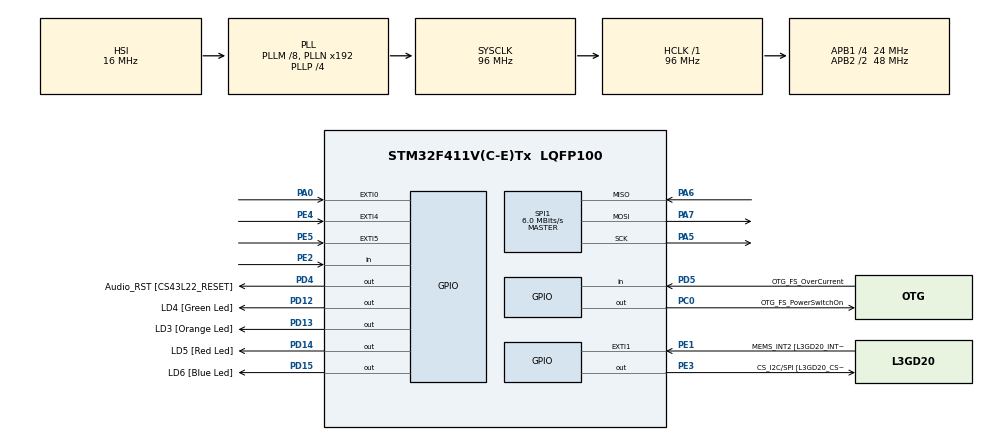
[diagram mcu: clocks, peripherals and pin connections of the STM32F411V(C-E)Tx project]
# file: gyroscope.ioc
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Mcu.Family=STM32F4
Mcu.Name=STM32F411V(C-E)Tx
Mcu.Package=LQFP100
NVIC.PriorityGroup=NVIC_PRIORITYGROUP_0
PA0-WKUP.GPIO_ModeDefaultEXTI=GPIO_MODE_EVT_RISING
PA0-WKUP.Signal=GPXTI0
PA10.GPIO_Label=OTG_FS_ID
PA10.Signal=USB_OTG_FS_ID
PA11.GPIO_Label=OTG_FS_DM
PA11.Signal=USB_OTG_FS_DM
PA12.GPIO_Label=OTG_FS_DP
PA12.Signal=USB_OTG_FS_DP
PA13.GPIO_Label=SWDIO
PA13.Signal=SYS_JTMS-SWDIO
PA14.GPIO_Label=SWCLK
PA14.Signal=SYS_JTCK-SWCLK
PA4.GPIO_Label=I2S3_WS [CS43L22_LRCK]
PA4.GPIO_Mode=GPIO_MODE_AF_PP
PA4.GPIO_PuPd=GPIO_NOPULL
PA4.GPIO_Speed=GPIO_SPEED_FREQ_LOW
PA4.Signal=I2S3_WS
PA5.Mode=Full_Duplex_Master
PA5.Signal=SPI1_SCK
PA6.Mode=Full_Duplex_Master
PA6.Signal=SPI1_MISO
PA7.Mode=Full_Duplex_Master
PA7.Signal=SPI1_MOSI
PA9.GPIO_Label=VBUS_FS
PA9.Signal=USB_OTG_FS_VBUS
PB10.GPIO_Label=CLK_IN [MP45DT02_CLK]
PB10.Signal=I2S2_CK
PB12.Signal=I2S2_WS
PB3.GPIO_Label=SWO
PB3.Signal=SYS_JTDO-SWO
PB6.GPIO_Label=Audio_SCL [CS43L22_SCL]
PB6.GPIO_Mode=GPIO_MODE_AF_OD
PB6.GPIO_PuPd=GPIO_NOPULL
PB6.GPIO_Speed=GPIO_SPEED_FREQ_LOW
PB6.Signal=I2C1_SCL
PB9.GPIO_Label=Audio_SDA [CS43L22_SDA]
PB9.GPIO_Mode=GPIO_MODE_AF_OD
PB9.GPIO_PuPd=GPIO_NOPULL
PB9.GPIO_Speed=GPIO_SPEED_FREQ_LOW
PB9.Signal=I2C1_SDA
PC0.GPIO_Label=OTG_FS_PowerSwitchOn
PC0.PinState=GPIO_PIN_SET
PC0.Signal=GPIO_Output
PC10.GPIO_Label=I2S3_SCK [CS43L22_SCLK]
PC10.GPIO_Mode=GPIO_MODE_AF_PP
PC10.GPIO_PuPd=GPIO_NOPULL
PC10.GPIO_Speed=GPIO_SPEED_FREQ_LOW
PC10.Signal=I2S3_CK
PC12.GPIO_Label=I2S3_SD [CS43L22_SDIN]
PC12.GPIO_Mode=GPIO_MODE_AF_PP
PC12.GPIO_PuPd=GPIO_NOPULL
PC12.GPIO_Speed=GPIO_SPEED_FREQ_LOW
PC12.Signal=I2S3_SD
PC14-OSC32_IN.GPIO_Label=PC14-OSC32_IN
PC14-OSC32_IN.Signal=RCC_OSC32_IN
PC15-OSC32_OUT.GPIO_Label=PC15-OSC32_OUT
PC15-OSC32_OUT.Signal=RCC_OSC32_OUT
PC3.GPIO_Label=PDM_OUT [MP45DT02_DOUT]
PC3.Signal=I2S2_SD
PC7.GPIO_Label=I2S3_MCK [CS43L22_MCLK]
PC7.GPIO_Mode=GPIO_MODE_AF_PP
PC7.GPIO_PuPd=GPIO_NOPULL
PC7.GPIO_Speed=GPIO_SPEED_FREQ_LOW
PC7.Signal=I2S3_MCK
PD12.GPIO_Label=LD4 [Green Led]
PD12.GPIO_PuPd=GPIO_NOPULL
PD12.GPIO_Speed=GPIO_SPEED_FREQ_LOW
PD12.Signal=GPIO_Output
PD13.GPIO_Label=LD3 [Orange Led]
PD13.GPIO_PuPd=GPIO_NOPULL
PD13.GPIO_Speed=GPIO_SPEED_FREQ_LOW
PD13.Signal=GPIO_Output
PD14.GPIO_Label=LD5 [Red Led]
PD14.GPIO_PuPd=GPIO_NOPULL
PD14.GPIO_Speed=GPIO_SPEED_FREQ_LOW
PD14.Signal=GPIO_Output
PD15.GPIO_Label=LD6 [Blue Led]
PD15.GPIO_PuPd=GPIO_NOPULL
PD15.GPIO_Speed=GPIO_SPEED_FREQ_LOW
PD15.Signal=GPIO_Output
PD4.GPIO_Label=Audio_RST [CS43L22_RESET]
PD4.Signal=GPIO_Output
PD5.GPIO_Label=OTG_FS_OverCurrent
PD5.Signal=GPIO_Input
PE1.GPIO_Label=MEMS_INT2 [L3GD20_INT2]
PE1.GPIO_ModeDefaultEXTI=GPIO_MODE_EVT_RISING
PE1.Signal=GPXTI1
PE2.Signal=GPIO_Input
PE3.GPIO_Label=CS_I2C/SPI [L3GD20_CS_I2C/SPI]
PE3.Signal=GPIO_Output
PE4.GPIO_ModeDefaultEXTI=GPIO_MODE_EVT_RISING
PE4.Signal=GPXTI4
PE5.GPIO_ModeDefaultEXTI=GPIO_MODE_EVT_RISING
PE5.Signal=GPXTI5
PH0\ -\ OSC_IN.GPIO_Label=PH0-OSC_IN
PH0\ -\ OSC_IN.Signal=RCC_OSC_IN
PH1\ -\ OSC_OUT.GPIO_Label=PH1-OSC_OUT
PH1\ -\ OSC_OUT.Signal=RCC_OSC_OUT
ProjectManager.HeapSize=0x200
ProjectManager.StackSize=0x400
ProjectManager.TargetToolchain=STM32CubeIDE
RCC.48MHZClocksFreq_Value=48000000
RCC.AHBFreq_Value=96000000
RCC.APB1CLKDivider=RCC_HCLK_DIV4
RCC.APB1Freq_Value=24000000
RCC.APB1TimFreq_Value=48000000
RCC.APB2CLKDivider=RCC_HCLK_DIV2
RCC.APB2Freq_Value=48000000
RCC.APB2TimFreq_Value=96000000
RCC.CortexFreq_Value=96000000
RCC.HCLKFreq_Value=96000000
RCC.HSE_VALUE=8000000
RCC.HSI_VALUE=16000000
RCC.LSE_VALUE=32768
RCC.PLLI2SM=5
RCC.PLLI2SN=200
RCC.PLLM=8
RCC.PLLP=RCC_PLLP_DIV4
RCC.PLLQ=8
RCC.SYSCLKFreq_VALUE=96000000
RCC.SYSCLKSource=RCC_SYSCLKSOURCE_PLLCLK
RCC.VCOOutputFreq_Value=384000000
SPI1.BaudRatePrescaler=SPI_BAUDRATEPRESCALER_8
SPI1.CalculateBaudRate=6.0 MBits/s
SPI1.Direction=SPI_DIRECTION_2LINES
SPI1.Mode=SPI_MODE_MASTER
SPI1.VirtualType=VM_MASTER
board=STM32F411E-DISCO

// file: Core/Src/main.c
/* USER CODE BEGIN Header */
/**
  ******************************************************************************
  * @file           : main.c
  * @brief          : Main program body
  ******************************************************************************
  * @attention
  *
  * Copyright (c) 2024 STMicroelectronics.
  * All rights reserved.
  *
  * This software is licensed under terms that can be found in the LICENSE file
  * in the root directory of this software component.
  * If no LICENSE file comes with this software, it is provided AS-IS.
  *
  ******************************************************************************
  */
/* USER CODE END Header */
#include "main.h"

/* USER CODE BEGIN Includes */
#include <stdio.h>
#include <math.h>
/* USER CODE END Includes */

SPI_HandleTypeDef hspi1;

void SystemClock_Config(void);
static void MX_GPIO_Init(void);
static void MX_SPI1_Init(void);

int main(void)
{

  /* USER CODE BEGIN 1 */
	initialise_monitor_handles();
	printf("Hello World!\n");
  /* USER CODE END 1 */

  /* MCU Configuration--------------------------------------------------------*/

  /* Reset of all peripherals, Initializes the Flash interface and the Systick. */
  HAL_Init();

  /* Configure the system clock */
  SystemClock_Config();

  /* Initialize all configured peripherals */
  MX_GPIO_Init();
  MX_SPI1_Init();
  /* USER CODE BEGIN 2 */
  uint8_t spi_receive_buf[6];
   uint8_t spi_transmit_buf[6];

   uint8_t WHO_AM_I_reg = 0x0F;
   WHO_AM_I_reg = 0b00001111;

   uint8_t READ = 0x01 << 7;
   uint8_t WRITE = 0x00 << 7;

   spi_transmit_buf[0] = WHO_AM_I_reg | READ;

 	HAL_GPIO_WritePin(GPIOE, GPIO_PIN_3, 0);
 	HAL_SPI_Transmit(&hspi1, spi_transmit_buf, 1, 50);
 	HAL_SPI_Receive(&hspi1, spi_receive_buf, 1, 50);
 	HAL_GPIO_WritePin(GPIOE, GPIO_PIN_3, 1);

 	printf("Expected 0x%02X , receiver: 0x%02X\n", 0b11010011, spi_receive_buf[0]);

 	//Odczyt rejestru przed zapisem
 	uint8_t CTRL_REG1_reg = 0x20;

 	spi_transmit_buf[0] = CTRL_REG1_reg | READ;

 	HAL_GPIO_WritePin(GPIOE, GPIO_PIN_3, 0);
 	HAL_SPI_Transmit(&hspi1, spi_transmit_buf, 1, 50);
 	HAL_SPI_Receive(&hspi1, spi_receive_buf, 1, 50);
 	HAL_GPIO_WritePin(GPIOE, GPIO_PIN_3, 1);

 	printf("CTRL_REG1 przed zapisem: 0x%02X\n", spi_receive_buf[0]);

 	//Zapis do rejestru

 	enum CTRL_REG1_BITS {XEN, YEN, ZEN, PD, BWO, BW1, DR0, DR1};
 	spi_transmit_buf[0] = CTRL_REG1_reg | WRITE;
 	spi_transmit_buf[1] = 1 <<XEN|1 << YEN|1 << ZEN|1 << PD|0 << BWO|0 << BW1|0 << DR0|0 << DR1;

 	HAL_GPIO_WritePin(GPIOE, GPIO_PIN_3, 0);
 	HAL_SPI_Transmit(&hspi1, spi_transmit_buf, 2, 50);
 	HAL_GPIO_WritePin(GPIOE, GPIO_PIN_3, 1);

 	//Odczyt do rejestru po zapisie

 	spi_transmit_buf[0] = CTRL_REG1_reg | READ;

 	HAL_GPIO_WritePin(GPIOE, GPIO_PIN_3, 0);
 	HAL_SPI_Transmit(&hspi1, spi_transmit_buf, 1, 50);
 	HAL_SPI_Receive(&hspi1, spi_receive_buf, 1, 50);
 	HAL_GPIO_WritePin(GPIOE, GPIO_PIN_3, 1);

 	printf("CTRL_REG1 po zapisie: 0x%02X\n", spi_receive_buf[0]);

 	uint8_t SAMPLES_START_reg = 0x28;

 	uint8_t AUTO_INCREMENT_ADDR = 0x01 << 6;

 	spi_transmit_buf[0] = SAMPLES_START_reg | READ |AUTO_INCREMENT_ADDR;
 	int16_t x, y, z;

 	float wspolczynnik_fizyczny = 245.0;

 	float xf, yf, zf;
  /* USER CODE END 2 */

  /* Infinite loop */
  /* USER CODE BEGIN WHILE */
  while (1)
  {
		HAL_GPIO_WritePin(GPIOE, GPIO_PIN_3, 0);
		HAL_SPI_Transmit(&hspi1, spi_transmit_buf, 1, 50);
		HAL_SPI_Receive(&hspi1, spi_receive_buf, 6, 50);
		HAL_GPIO_WritePin(GPIOE, GPIO_PIN_3, 1);
		x = spi_receive_buf[0] | spi_receive_buf[1] << 8;
		y = spi_receive_buf[2] | spi_receive_buf[3] << 8;
		z = spi_receive_buf[4] | spi_receive_buf[5] << 8;

		xf = (float)x / pow(2,15)*wspolczynnik_fizyczny;
		yf = (float)y / pow(2,15)*wspolczynnik_fizyczny;
		zf = (float)z / pow(2,15)*wspolczynnik_fizyczny;

		//printf("x: %5d, y: %5d, z: %5d\n", x, y, z);
		printf("xf: %3.2f, yf: %3.2f, zf: %3.2f\n", xf, yf, zf);
    /* USER CODE END WHILE */

  }
}

void SystemClock_Config(void)
{
  RCC_OscInitTypeDef RCC_OscInitStruct = {0};
  RCC_ClkInitTypeDef RCC_ClkInitStruct = {0};

  /** Configure the main internal regulator output voltage
  */
  __HAL_RCC_PWR_CLK_ENABLE();
  __HAL_PWR_VOLTAGESCALING_CONFIG(PWR_REGULATOR_VOLTAGE_SCALE1);

  /** Initializes the RCC Oscillators according to the specified parameters
  * in the RCC_OscInitTypeDef structure.
  */
  RCC_OscInitStruct.OscillatorType = RCC_OSCILLATORTYPE_HSI;
  RCC_OscInitStruct.HSIState = RCC_HSI_ON;
  RCC_OscInitStruct.HSICalibrationValue = RCC_HSICALIBRATION_DEFAULT;
  RCC_OscInitStruct.PLL.PLLState = RCC_PLL_ON;
  RCC_OscInitStruct.PLL.PLLSource = RCC_PLLSOURCE_HSI;
  RCC_OscInitStruct.PLL.PLLM = 8;
  RCC_OscInitStruct.PLL.PLLN = 192;
  RCC_OscInitStruct.PLL.PLLP = RCC_PLLP_DIV4;
  RCC_OscInitStruct.PLL.PLLQ = 8;
  if (HAL_RCC_OscConfig(&RCC_OscInitStruct) != HAL_OK)
  {
    Error_Handler();
  }

  /** Initializes the CPU, AHB and APB buses clocks
  */
  RCC_ClkInitStruct.ClockType = RCC_CLOCKTYPE_HCLK|RCC_CLOCKTYPE_SYSCLK
                              |RCC_CLOCKTYPE_PCLK1|RCC_CLOCKTYPE_PCLK2;
  RCC_ClkInitStruct.SYSCLKSource = RCC_SYSCLKSOURCE_PLLCLK;
  RCC_ClkInitStruct.AHBCLKDivider = RCC_SYSCLK_DIV1;
  RCC_ClkInitStruct.APB1CLKDivider = RCC_HCLK_DIV4;
  RCC_ClkInitStruct.APB2CLKDivider = RCC_HCLK_DIV2;

  if (HAL_RCC_ClockConfig(&RCC_ClkInitStruct, FLASH_LATENCY_3) != HAL_OK)
  {
    Error_Handler();
  }
}

static void MX_SPI1_Init(void)
{

  /* SPI1 parameter configuration*/
  hspi1.Instance = SPI1;
  hspi1.Init.Mode = SPI_MODE_MASTER;
  hspi1.Init.Direction = SPI_DIRECTION_2LINES;
  hspi1.Init.DataSize = SPI_DATASIZE_8BIT;
  hspi1.Init.CLKPolarity = SPI_POLARITY_LOW;
  hspi1.Init.CLKPhase = SPI_PHASE_1EDGE;
  hspi1.Init.NSS = SPI_NSS_SOFT;
  hspi1.Init.BaudRatePrescaler = SPI_BAUDRATEPRESCALER_8;
  hspi1.Init.FirstBit = SPI_FIRSTBIT_MSB;
  hspi1.Init.TIMode = SPI_TIMODE_DISABLE;
  hspi1.Init.CRCCalculation = SPI_CRCCALCULATION_DISABLE;
  hspi1.Init.CRCPolynomial = 10;
  if (HAL_SPI_Init(&hspi1) != HAL_OK)
  {
    Error_Handler();
  }

}

static void MX_GPIO_Init(void)
{
  GPIO_InitTypeDef GPIO_InitStruct = {0};

  /* GPIO Ports Clock Enable */
  __HAL_RCC_GPIOE_CLK_ENABLE();
  __HAL_RCC_GPIOC_CLK_ENABLE();
  __HAL_RCC_GPIOH_CLK_ENABLE();
  __HAL_RCC_GPIOA_CLK_ENABLE();
  __HAL_RCC_GPIOB_CLK_ENABLE();
  __HAL_RCC_GPIOD_CLK_ENABLE();

  /*Configure GPIO pin Output Level */
  HAL_GPIO_WritePin(CS_I2C_SPI_GPIO_Port, CS_I2C_SPI_Pin, GPIO_PIN_RESET);

  /*Configure GPIO pin Output Level */
  HAL_GPIO_WritePin(OTG_FS_PowerSwitchOn_GPIO_Port, OTG_FS_PowerSwitchOn_Pin, GPIO_PIN_SET);

  /*Configure GPIO pin Output Level */
  HAL_GPIO_WritePin(GPIOD, LD4_Pin|LD3_Pin|LD5_Pin|LD6_Pin
                          |Audio_RST_Pin, GPIO_PIN_RESET);

  /*Configure GPIO pin : PE2 */
  GPIO_InitStruct.Pin = GPIO_PIN_2;
  GPIO_InitStruct.Mode = GPIO_MODE_INPUT;
  GPIO_InitStruct.Pull = GPIO_NOPULL;
  HAL_GPIO_Init(GPIOE, &GPIO_InitStruct);

  /*Configure GPIO pin : CS_I2C_SPI_Pin */
  GPIO_InitStruct.Pin = CS_I2C_SPI_Pin;
  GPIO_InitStruct.Mode = GPIO_MODE_OUTPUT_PP;
  GPIO_InitStruct.Pull = GPIO_NOPULL;
  GPIO_InitStruct.Speed = GPIO_SPEED_FREQ_LOW;
  HAL_GPIO_Init(CS_I2C_SPI_GPIO_Port, &GPIO_InitStruct);

  /*Configure GPIO pins : PE4 PE5 MEMS_INT2_Pin */
  GPIO_InitStruct.Pin = GPIO_PIN_4|GPIO_PIN_5|MEMS_INT2_Pin;
  GPIO_InitStruct.Mode = GPIO_MODE_EVT_RISING;
  GPIO_InitStruct.Pull = GPIO_NOPULL;
  HAL_GPIO_Init(GPIOE, &GPIO_InitStruct);

  /*Configure GPIO pin : OTG_FS_PowerSwitchOn_Pin */
  GPIO_InitStruct.Pin = OTG_FS_PowerSwitchOn_Pin;
  GPIO_InitStruct.Mode = GPIO_MODE_OUTPUT_PP;
  GPIO_InitStruct.Pull = GPIO_NOPULL;
  GPIO_InitStruct.Speed = GPIO_SPEED_FREQ_LOW;
  HAL_GPIO_Init(OTG_FS_PowerSwitchOn_GPIO_Port, &GPIO_InitStruct);

  /*Configure GPIO pin : PDM_OUT_Pin */
  GPIO_InitStruct.Pin = PDM_OUT_Pin;
  GPIO_InitStruct.Mode = GPIO_MODE_AF_PP;
  GPIO_InitStruct.Pull = GPIO_NOPULL;
  GPIO_InitStruct.Speed = GPIO_SPEED_FREQ_LOW;
  GPIO_InitStruct.Alternate = GPIO_AF5_SPI2;
  HAL_GPIO_Init(PDM_OUT_GPIO_Port, &GPIO_InitStruct);

  /*Configure GPIO pin : PA0 */
  GPIO_InitStruct.Pin = GPIO_PIN_0;
  GPIO_InitStruct.Mode = GPIO_MODE_EVT_RISING;
  GPIO_InitStruct.Pull = GPIO_NOPULL;
  HAL_GPIO_Init(GPIOA, &GPIO_InitStruct);

  /*Configure GPIO pin : I2S3_WS_Pin */
  GPIO_InitStruct.Pin = I2S3_WS_Pin;
  GPIO_InitStruct.Mode = GPIO_MODE_AF_PP;
  GPIO_InitStruct.Pull = GPIO_NOPULL;
  GPIO_InitStruct.Speed = GPIO_SPEED_FREQ_LOW;
  GPIO_InitStruct.Alternate = GPIO_AF6_SPI3;
  HAL_GPIO_Init(I2S3_WS_GPIO_Port, &GPIO_InitStruct);

  /*Configure GPIO pins : CLK_IN_Pin PB12 */
  GPIO_InitStruct.Pin = CLK_IN_Pin|GPIO_PIN_12;
  GPIO_InitStruct.Mode = GPIO_MODE_AF_PP;
  GPIO_InitStruct.Pull = GPIO_NOPULL;
  GPIO_InitStruct.Speed = GPIO_SPEED_FREQ_LOW;
  GPIO_InitStruct.Alternate = GPIO_AF5_SPI2;
  HAL_GPIO_Init(GPIOB, &GPIO_InitStruct);

  /*Configure GPIO pins : LD4_Pin LD3_Pin LD5_Pin LD6_Pin
                           Audio_RST_Pin */
  GPIO_InitStruct.Pin = LD4_Pin|LD3_Pin|LD5_Pin|LD6_Pin
                          |Audio_RST_Pin;
  GPIO_InitStruct.Mode = GPIO_MODE_OUTPUT_PP;
  GPIO_InitStruct.Pull = GPIO_NOPULL;
  GPIO_InitStruct.Speed = GPIO_SPEED_FREQ_LOW;
  HAL_GPIO_Init(GPIOD, &GPIO_InitStruct);

  /*Configure GPIO pins : I2S3_MCK_Pin I2S3_SCK_Pin I2S3_SD_Pin */
  GPIO_InitStruct.Pin = I2S3_MCK_Pin|I2S3_SCK_Pin|I2S3_SD_Pin;
  GPIO_InitStruct.Mode = GPIO_MODE_AF_PP;
  GPIO_InitStruct.Pull = GPIO_NOPULL;
  GPIO_InitStruct.Speed = GPIO_SPEED_FREQ_LOW;
  GPIO_InitStruct.Alternate = GPIO_AF6_SPI3;
  HAL_GPIO_Init(GPIOC, &GPIO_InitStruct);

  /*Configure GPIO pin : VBUS_FS_Pin */
  GPIO_InitStruct.Pin = VBUS_FS_Pin;
  GPIO_InitStruct.Mode = GPIO_MODE_INPUT;
  GPIO_InitStruct.Pull = GPIO_NOPULL;
  HAL_GPIO_Init(VBUS_FS_GPIO_Port, &GPIO_InitStruct);

  /*Configure GPIO pins : OTG_FS_ID_Pin OTG_FS_DM_Pin OTG_FS_DP_Pin */
  GPIO_InitStruct.Pin = OTG_FS_ID_Pin|OTG_FS_DM_Pin|OTG_FS_DP_Pin;
  GPIO_InitStruct.Mode = GPIO_MODE_AF_PP;
  GPIO_InitStruct.Pull = GPIO_NOPULL;
  GPIO_InitStruct.Speed = GPIO_SPEED_FREQ_VERY_HIGH;
  GPIO_InitStruct.Alternate = GPIO_AF10_OTG_FS;
  HAL_GPIO_Init(GPIOA, &GPIO_InitStruct);

  /*Configure GPIO pin : OTG_FS_OverCurrent_Pin */
  GPIO_InitStruct.Pin = OTG_FS_OverCurrent_Pin;
  GPIO_InitStruct.Mode = GPIO_MODE_INPUT;
  GPIO_InitStruct.Pull = GPIO_NOPULL;
  HAL_GPIO_Init(OTG_FS_OverCurrent_GPIO_Port, &GPIO_InitStruct);

  /*Configure GPIO pins : Audio_SCL_Pin Audio_SDA_Pin */
  GPIO_InitStruct.Pin = Audio_SCL_Pin|Audio_SDA_Pin;
  GPIO_InitStruct.Mode = GPIO_MODE_AF_OD;
  GPIO_InitStruct.Pull = GPIO_NOPULL;
  GPIO_InitStruct.Speed = GPIO_SPEED_FREQ_LOW;
  GPIO_InitStruct.Alternate = GPIO_AF4_I2C1;
  HAL_GPIO_Init(GPIOB, &GPIO_InitStruct);

}

void Error_Handler(void)
{
  __disable_irq();
  while (1)
  {
  }
}
